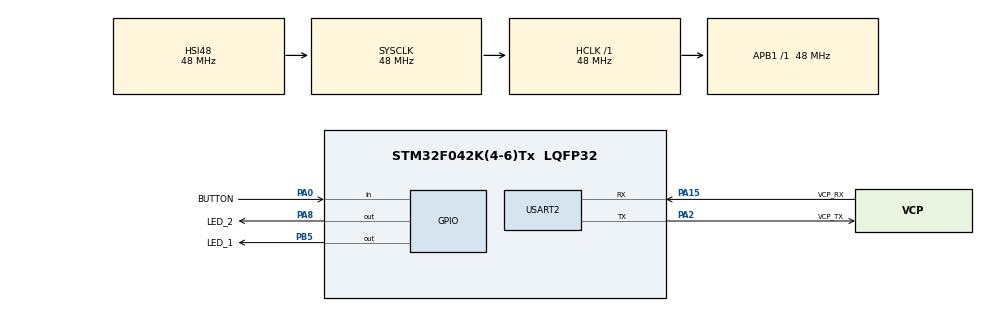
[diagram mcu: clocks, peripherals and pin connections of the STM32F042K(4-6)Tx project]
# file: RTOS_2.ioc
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FREERTOS.Tasks01=defaultTask,0,128,StartDefaultTask,Default,NULL,Dynamic,NULL,NULL
FREERTOS.configTOTAL_HEAP_SIZE=3072-500
FREERTOS.configUSE_NEWLIB_REENTRANT=1
Mcu.Family=STM32F0
Mcu.Name=STM32F042K(4-6)Tx
Mcu.Package=LQFP32
NVIC.FLASH_IRQn=true\:3\:0\:false\:true\:true\:2\:true\:true\:true\:true
NVIC.PVD_VDDIO2_IRQn=true\:3\:0\:false\:true\:true\:1\:true\:true\:true\:true
NVIC.RCC_CRS_IRQn=true\:3\:0\:false\:true\:true\:3\:true\:true\:false\:true
NVIC.TIM17_IRQn=true\:3\:0\:false\:false\:true\:false\:false\:true\:true
NVIC.TimeBase=TIM17_IRQn
NVIC.TimeBaseIP=TIM17
NVIC.USART2_IRQn=true\:3\:0\:false\:true\:true\:4\:true\:true\:true\:true
PA0.GPIO_Label=BUTTON
PA0.Signal=GPIO_Input
PA13.GPIO_Label=SWDIO
PA13.Mode=Serial_Wire
PA13.Signal=SYS_SWDIO
PA14.GPIO_Label=SWCLK
PA14.Mode=Serial_Wire
PA14.Signal=SYS_SWCLK
PA15.GPIO_Label=VCP_RX
PA15.Mode=Asynchronous
PA15.Signal=USART2_RX
PA2.GPIO_Label=VCP_TX
PA2.Mode=Asynchronous
PA2.Signal=USART2_TX
PA8.GPIO_Label=LED_2
PA8.Signal=GPIO_Output
PB5.GPIO_Label=LED_1
PB5.Signal=GPIO_Output
PF0-OSC_IN.GPIO_Label=MCO
PF0-OSC_IN.Mode=HSE-External-Clock-Source
PF0-OSC_IN.Signal=RCC_OSC_IN
ProjectManager.HeapSize=0x200
ProjectManager.StackSize=0x400
ProjectManager.TargetToolchain=STM32CubeIDE
RCC.AHBFreq_Value=48000000
RCC.APB1Freq_Value=48000000
RCC.APB1TimFreq_Value=48000000
RCC.HCLKFreq_Value=48000000
RCC.SYSCLKFreq_VALUE=48000000
RCC.SYSCLKSource=RCC_SYSCLKSOURCE_HSI48
USART2.VirtualMode-Asynchronous=VM_ASYNC
VP_FREERTOS_VS_CMSIS_V1.Mode=CMSIS_V1
VP_SYS_VS_tim17.Mode=TIM17
board=NUCLEO-F042K6

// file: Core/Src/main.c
/* USER CODE BEGIN Header */
/**
  ******************************************************************************
  * @file           : main.c
  * @brief          : Main program body
  ******************************************************************************
  * @attention
  *
  * Copyright (c) 2025 STMicroelectronics.
  * All rights reserved.
  *
  * This software is licensed under terms that can be found in the LICENSE file
  * in the root directory of this software component.
  * If no LICENSE file comes with this software, it is provided AS-IS.
  *
  ******************************************************************************
  */
/* USER CODE END Header */
#include "main.h"
#include "cmsis_os.h"

/* USER CODE BEGIN Includes */
# include <stdio.h>
# include <string.h>
# include <inttypes.h>

/* USER CODE END Includes */

UART_HandleTypeDef huart2;

osThreadId defaultTaskHandle;
/* USER CODE BEGIN PV */

osThreadId task2Handle;

uint32_t ind = 0 ;

/* USER CODE END PV */

void SystemClock_Config(void);
static void MX_GPIO_Init(void);
static void MX_USART2_UART_Init(void);
void StartDefaultTask(void const * argument);

static void MX_NVIC_Init(void);
/* USER CODE BEGIN PFP */

void task2_init(void const * argument) ;
/* USER CODE END PFP */

int main(void)
{

  /* MCU Configuration--------------------------------------------------------*/

  /* Reset of all peripherals, Initializes the Flash interface and the Systick. */
  HAL_Init();

  /* Configure the system clock */
  SystemClock_Config();

  /* Initialize all configured peripherals */
  MX_GPIO_Init();
  MX_USART2_UART_Init();

  /* Initialize interrupts */
  MX_NVIC_Init();

  /* Create the thread(s) */
  /* definition and creation of defaultTask */
  osThreadDef(defaultTask, StartDefaultTask, osPriorityNormal, 0, 128);
  defaultTaskHandle = osThreadCreate(osThread(defaultTask), NULL);

  /* USER CODE BEGIN RTOS_THREADS */
  /* add threads, ... */
  osThreadDef(task2, task2_init, osPriorityAboveNormal, 0 , 128);
  task2Handle = osThreadCreate(osThread(task2), NULL) ;

  /* USER CODE END RTOS_THREADS */

  /* Start scheduler */
  osKernelStart();

  /* We should never get here as control is now taken by the scheduler */

  /* Infinite loop */
  while (1)
  {

  }
}

void SystemClock_Config(void)
{
  RCC_OscInitTypeDef RCC_OscInitStruct = {0};
  RCC_ClkInitTypeDef RCC_ClkInitStruct = {0};

  /** Initializes the RCC Oscillators according to the specified parameters
  * in the RCC_OscInitTypeDef structure.
  */
  RCC_OscInitStruct.OscillatorType = RCC_OSCILLATORTYPE_HSI48;
  RCC_OscInitStruct.HSI48State = RCC_HSI48_ON;
  RCC_OscInitStruct.PLL.PLLState = RCC_PLL_NONE;
  if (HAL_RCC_OscConfig(&RCC_OscInitStruct) != HAL_OK)
  {
    Error_Handler();
  }

  /** Initializes the CPU, AHB and APB buses clocks
  */
  RCC_ClkInitStruct.ClockType = RCC_CLOCKTYPE_HCLK|RCC_CLOCKTYPE_SYSCLK
                              |RCC_CLOCKTYPE_PCLK1;
  RCC_ClkInitStruct.SYSCLKSource = RCC_SYSCLKSOURCE_HSI48;
  RCC_ClkInitStruct.AHBCLKDivider = RCC_SYSCLK_DIV1;
  RCC_ClkInitStruct.APB1CLKDivider = RCC_HCLK_DIV1;

  if (HAL_RCC_ClockConfig(&RCC_ClkInitStruct, FLASH_LATENCY_1) != HAL_OK)
  {
    Error_Handler();
  }
}

/**
  * @brief NVIC Configuration.
  * @retval None
  */
static void MX_NVIC_Init(void)
{
  /* PVD_VDDIO2_IRQn interrupt configuration */
  HAL_NVIC_SetPriority(PVD_VDDIO2_IRQn, 3, 0);
  HAL_NVIC_EnableIRQ(PVD_VDDIO2_IRQn);
  /* FLASH_IRQn interrupt configuration */
  HAL_NVIC_SetPriority(FLASH_IRQn, 3, 0);
  HAL_NVIC_EnableIRQ(FLASH_IRQn);
  /* RCC_CRS_IRQn interrupt configuration */
  HAL_NVIC_SetPriority(RCC_CRS_IRQn, 3, 0);
  HAL_NVIC_EnableIRQ(RCC_CRS_IRQn);
  /* USART2_IRQn interrupt configuration */
  HAL_NVIC_SetPriority(USART2_IRQn, 3, 0);
  HAL_NVIC_EnableIRQ(USART2_IRQn);
}

static void MX_USART2_UART_Init(void)
{

  huart2.Instance = USART2;
  huart2.Init.BaudRate = 38400;
  huart2.Init.WordLength = UART_WORDLENGTH_8B;
  huart2.Init.StopBits = UART_STOPBITS_1;
  huart2.Init.Parity = UART_PARITY_NONE;
  huart2.Init.Mode = UART_MODE_TX_RX;
  huart2.Init.HwFlowCtl = UART_HWCONTROL_NONE;
  huart2.Init.OverSampling = UART_OVERSAMPLING_16;
  huart2.Init.OneBitSampling = UART_ONE_BIT_SAMPLE_DISABLE;
  huart2.AdvancedInit.AdvFeatureInit = UART_ADVFEATURE_NO_INIT;
  if (HAL_UART_Init(&huart2) != HAL_OK)
  {
    Error_Handler();
  }

}

static void MX_GPIO_Init(void)
{
  GPIO_InitTypeDef GPIO_InitStruct = {0};

  /* GPIO Ports Clock Enable */
  __HAL_RCC_GPIOF_CLK_ENABLE();
  __HAL_RCC_GPIOA_CLK_ENABLE();
  __HAL_RCC_GPIOB_CLK_ENABLE();

  /*Configure GPIO pin Output Level */
  HAL_GPIO_WritePin(LED_2_GPIO_Port, LED_2_Pin, GPIO_PIN_RESET);

  /*Configure GPIO pin Output Level */
  HAL_GPIO_WritePin(LED_1_GPIO_Port, LED_1_Pin, GPIO_PIN_RESET);

  /*Configure GPIO pin : BUTTON_Pin */
  GPIO_InitStruct.Pin = BUTTON_Pin;
  GPIO_InitStruct.Mode = GPIO_MODE_INPUT;
  GPIO_InitStruct.Pull = GPIO_NOPULL;
  HAL_GPIO_Init(BUTTON_GPIO_Port, &GPIO_InitStruct);

  /*Configure GPIO pin : LED_2_Pin */
  GPIO_InitStruct.Pin = LED_2_Pin;
  GPIO_InitStruct.Mode = GPIO_MODE_OUTPUT_PP;
  GPIO_InitStruct.Pull = GPIO_NOPULL;
  GPIO_InitStruct.Speed = GPIO_SPEED_FREQ_LOW;
  HAL_GPIO_Init(LED_2_GPIO_Port, &GPIO_InitStruct);

  /*Configure GPIO pin : LED_1_Pin */
  GPIO_InitStruct.Pin = LED_1_Pin;
  GPIO_InitStruct.Mode = GPIO_MODE_OUTPUT_PP;
  GPIO_InitStruct.Pull = GPIO_NOPULL;
  GPIO_InitStruct.Speed = GPIO_SPEED_FREQ_LOW;
  HAL_GPIO_Init(LED_1_GPIO_Port, &GPIO_InitStruct);

}

/* USER CODE BEGIN 4 */

void task2_init(void const * argument)
{
	for(;;)
	{
		char message[40] ;
		sprintf(message, "Index from task 2 %"PRIu32"\n", ind++) ;
		HAL_UART_Transmit(&huart2, (uint8_t *)message, strlen(message), 500) ;
	    osDelay(1000);

//	    if (ind == 4){
//	    	sprintf(message, "Pausing default task\n") ;
//	    	HAL_UART_Transmit(&huart2, (uint8_t *)message, strlen(message), 500) ;
//	    	osThreadSuspend(defaultTaskHandle) ;
//	    }
//
//	    if (ind == 7){
//	    	sprintf(message, "Resuming default task\n") ;
//	    	HAL_UART_Transmit(&huart2, (uint8_t *)message, strlen(message), 500) ;
//	    	osThreadResume(defaultTaskHandle) ;
//	    }

//	    if (ind == 7){
//	    	sprintf(message, "Terminating default task\n") ;
//			HAL_UART_Transmit(&huart2, (uint8_t *)message, strlen(message), 500) ;
//			osThreadTerminate(defaultTaskHandle) ;
//	    }

	    if (ind == 7){
	    	sprintf(message, "----> Pausing task 2 for 5s\n") ;
	    	HAL_UART_Transmit(&huart2, (uint8_t *)message, strlen(message), 500) ;
	    	uint32_t wakeTime = osKernelSysTick();
	    	osDelayUntil(&wakeTime, 5000) ;
	    }

	}
}

/* USER CODE END 4 */

void StartDefaultTask(void const * argument)
{
  /* USER CODE BEGIN 5 */
  /* Infinite loop */
  for(;;)
  {
	uint8_t message[] = "Message from default task\n" ;
	HAL_UART_Transmit(&huart2, message, sizeof(message)-1, 500) ;
    osDelay(1000);
  }
  /* USER CODE END 5 */
}

void HAL_TIM_PeriodElapsedCallback(TIM_HandleTypeDef *htim)
{
  if (htim->Instance == TIM17) {
    HAL_IncTick();
  }
}

void Error_Handler(void)
{
  __disable_irq();
  while (1)
  {
  }
}
